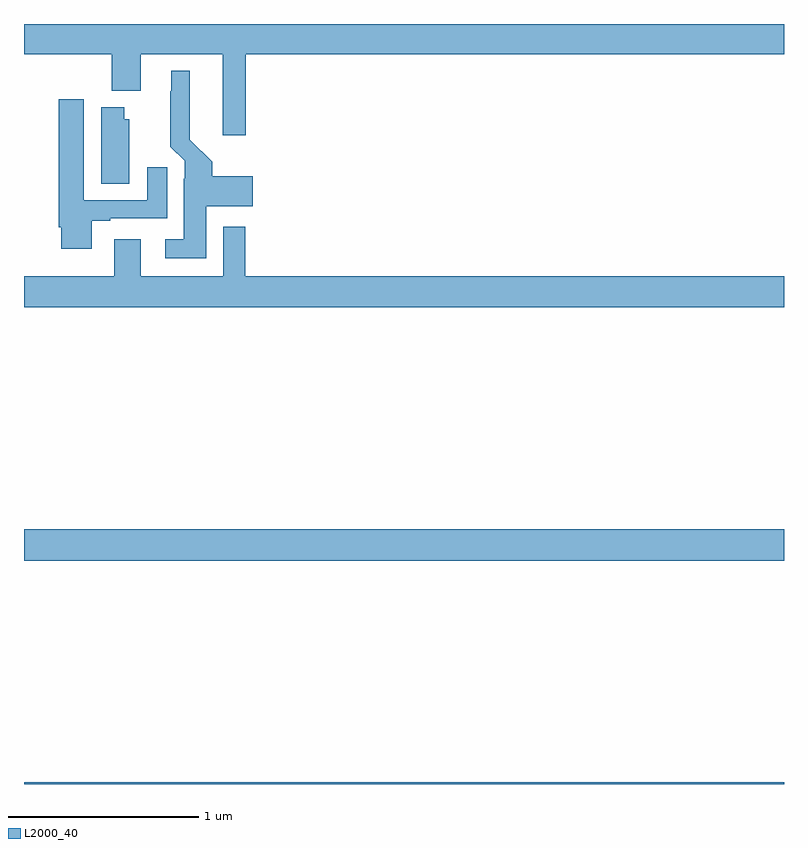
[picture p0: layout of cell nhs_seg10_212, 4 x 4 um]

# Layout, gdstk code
import gdstk
lib = gdstk.Library(unit=1e-6, precision=1e-09)
def R(c, l, rs):  # rectangles x0, y0, x1, y1
    for r in rs: c.add(gdstk.rectangle(r[:2], r[2:], *l))
def P(c, l, *ps):  # polygons
    for p in ps: c.add(gdstk.Polygon(p, *l))
L2000_40 = (2000, 40)

nhs_seg10_212 = lib.new_cell('nhs_seg10_212')
R(nhs_seg10_212, L2000_40, [(121,1272.5,125,1272.508), (121,1273.676,125,1273.84)])
P(nhs_seg10_212, L2000_40, [(122.168,1276.34),(125,1276.34),(125,1276.5),(121,1276.5),(121,1276.34),(121.463,1276.34),(121.463,1276.148),(121.615,1276.148),(121.615,1276.34),(122.045,1276.34),(122.045,1275.915),(122.168,1275.915)],
  [(121.96,1275.542),(122.203,1275.542),(122.203,1275.7),(121.991,1275.7),(121.991,1275.774),(121.873,1275.892),(121.873,1276.255),(121.775,1276.255),(121.775,1276.145),(121.771,1276.145),(121.771,1275.854),(121.845,1275.78),(121.845,1275.686),(121.841,1275.686),(121.841,1275.367),(121.743,1275.367),(121.743,1275.266),(121.96,1275.266)],
  [(121.357,1275.465),(121.453,1275.465),(121.453,1275.477),(121.753,1275.477),(121.753,1275.745),(121.649,1275.745),(121.649,1275.573),(121.315,1275.573),(121.315,1276.105),(121.184,1276.105),(121.184,1275.43),(121.196,1275.43),(121.196,1275.318),(121.357,1275.318)],
  [(121.555,1275.999),(121.528,1275.999),(121.528,1276.063),(121.406,1276.063),(121.406,1275.658),(121.555,1275.658)],
  [(125,1275.172),(122.165,1275.172),(122.165,1275.433),(122.049,1275.433),(122.049,1275.172),(121.615,1275.172),(121.615,1275.367),(121.475,1275.367),(121.475,1275.172),(121,1275.172),(121,1275.008),(125,1275.008)])

lib.write_gds('nhs_seg10_212.gds')
